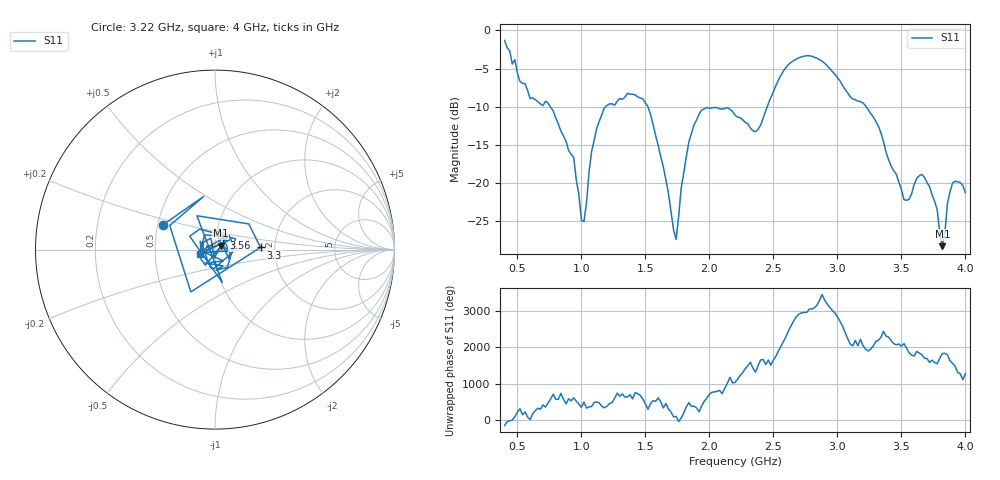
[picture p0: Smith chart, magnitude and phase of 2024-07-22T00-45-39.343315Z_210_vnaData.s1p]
!Created with skrf (http://scikit-rf.org).
# Hz S RI R 50.0
!freq ReS11 ImS11
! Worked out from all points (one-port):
!   181 points, 400 MHz to 4 GHz, reference 50 ohm
!   lowest |S11| = -28.2 dB at 3.82 GHz (marker M1), VSWR 1.08, Z = 53.3 + j2.25 ohm
!   |S11| at or under -10 dB: 757 MHz to 1.189 GHz (431.6 MHz wide, 44.4 % of centre); 1.52 GHz to 2.452 GHz (931.3 MHz wide, 46.9 % of centre); 3.225 GHz to end of sweep
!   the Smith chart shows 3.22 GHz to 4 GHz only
!   S11 on the Smith chart (normalised r, x): 3.22 GHz: 0.53, +0.16; 3.3 GHz: 1.68, +0.04; 3.56 GHz: 1.09, +0.14; 4 GHz: 0.84, -0.04
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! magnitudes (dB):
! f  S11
! 400 MHz  -1.3
! 600 MHz  -8.9
! 740 MHz  -9.5
! 860 MHz  -13.8
! 940 MHz  -16.6
! 1 GHz  -24.8
! 1.02 GHz  -25.0
! 1.08 GHz  -15.8
! 1.12 GHz  -12.8
! 1.3 GHz  -8.9
! 1.52 GHz  -10.0
! 1.74 GHz  -27.4
! 1.76 GHz  -24.3
! 1.84 GHz  -14.5
! 1.92 GHz  -11.0
! 2.2 GHz  -11.1
! 2.38 GHz  -13.0
! 2.66 GHz  -3.9
! 2.88 GHz  -4.0
! 3.1 GHz  -8.7
! 3.22 GHz  -9.9
! 3.3 GHz  -11.9
! 3.56 GHz  -22.1
! 3.68 GHz  -19.2
! 3.78 GHz  -23.5
! 3.82 GHz  -28.2
! 3.9 GHz  -20.0
! 4 GHz  -21.2
